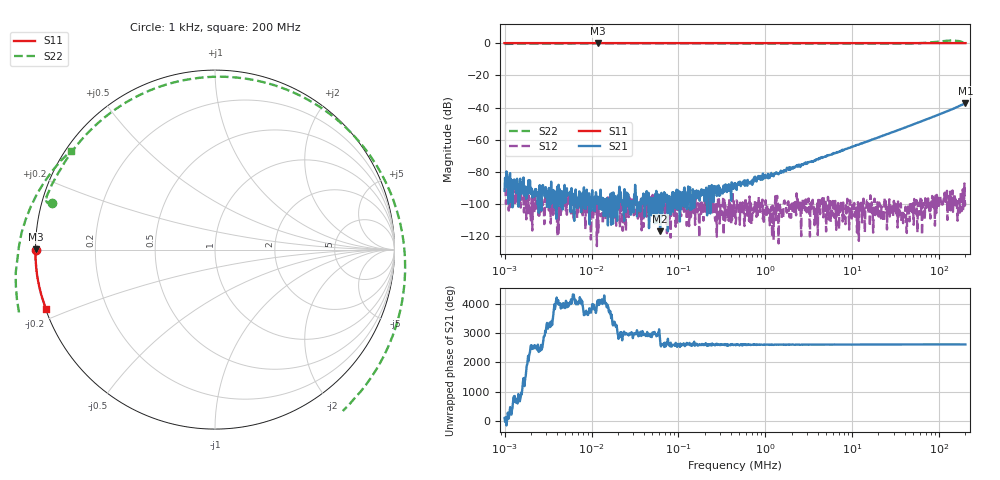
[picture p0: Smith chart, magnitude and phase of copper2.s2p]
! ListType=Log
# MHZ S RI R 50
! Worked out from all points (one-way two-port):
!   1000 points, 1 kHz to 200 MHz, reference 50 ohm
!   highest |S21| = -37.47 dB at 200 MHz (marker M1); lowest = -116.9 dB at 61.41 kHz (marker M2)
!   lowest |S11| = 0.0 dB at 11.95 kHz (marker M3), VSWR 726.32, Z = 0.0688 + j0.0248 ohm
!   |S11| at or under -10 dB: nowhere
!   |S22| runs from -0.5 to 1.7 dB; largest |S21 - S12| = 0.013
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0.001  -0.9999 0.000171  -5.9e-06 2.57e-05  -1.15e-05 -2.99e-05  -0.9089 0.26
0.0076941  -0.9996 -3.81e-05  9.7e-06 4.7e-06  -2.1e-06 8.4e-06  -0.9422 0.2759
0.011945  -0.9972 0.000988  -5.4e-06 1.61e-05  -1.2e-06 6e-07  -0.9435 0.2782
0.0584804  -0.9997 -6.27e-05  -1.1e-05 1.05e-05  1.1e-06 -7.5e-06  -0.9406 0.2882
0.0614095  -0.9998 -7.41e-05  -3e-07 -1.4e-06  -1.3e-05 9e-07  -0.9405 0.2884
0.4499541  -0.9998 -0.0009  7.7e-06 4.47e-05  1.8e-06 7.1e-06  -0.9349 0.303
1.526869  -0.9999 -0.00275  1.12e-05 9.36e-05  7.5e-06 -1.6e-06  -0.9188 0.3394
3.419952  -1 -0.00632  1.81e-05 0.000218  -1.8e-06 -7.2e-06  -0.8867 0.4028
12.03851  -1 -0.0213  2.48e-05 0.000719  -7.5e-06 -3e-07  -0.7122 0.6466
26.31347  -0.9997 -0.0459  -8.9e-06 0.00156  3.6e-06 -3.5e-06  -0.3118 0.9064
38.43037  -0.9988 -0.0667  -4.98e-05 0.0023  1.2e-06 -2.3e-06  0.0882 0.9611
50.9003  -0.9974 -0.0879  -0.000124 0.00303  -1e-07 -2.3e-06  0.4925 0.8486
64.99008  -0.9951 -0.1118  -0.0002 0.0039  6e-06 -3.9e-06  0.8567 0.5339
81.97236  -0.9914 -0.1406  -0.000317 0.00496  5.3e-06 -7.1e-06  1.057 -0.0223
92.62555  -0.9887 -0.1584  -0.000419 0.00566  -3.4e-06 -4.1e-06  1.016 -0.4025
103.3922  -0.9855 -0.1763  -0.000485 0.00637  -9.6e-06 -1.12e-05  0.8402 -0.7545
116.8291  -0.9809 -0.1985  -0.000597 0.00724  1.25e-05 -4.9e-06  0.4616 -1.075
128.8255  -0.9765 -0.2181  -0.000677 0.00801  -1.25e-05 -1.01e-05  0.0311 -1.195
145.5678  -0.9694 -0.2451  -0.000857 0.00923  5.8e-06 -1.22e-05  -0.5687 -1.06
164.4859  -0.9604 -0.2756  -0.000994 0.0106  4.6e-06 -3.3e-06  -1.028 -0.5582
179.1732  -0.9518 -0.3017  -0.000955 0.012  -1.87e-05 -8.8e-06  -1.102 -0.0581
200  -0.9422 -0.3334  -0.000408 0.0134  -1.29e-05 -6.6e-06  -0.8026 0.5506
